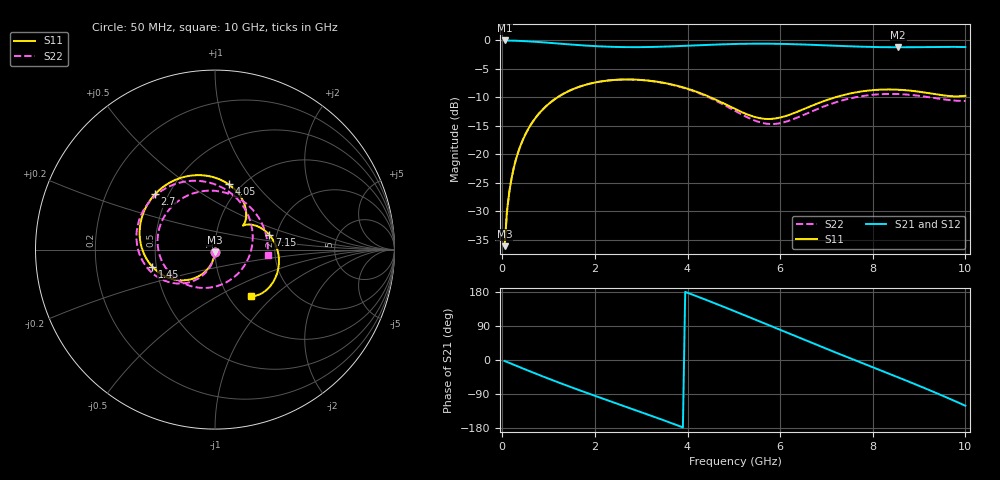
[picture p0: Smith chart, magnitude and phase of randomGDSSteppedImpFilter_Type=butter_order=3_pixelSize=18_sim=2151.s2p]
! freq	dB(S11)	phase(S11)	dB(S12)	phase(S12)
!  dB(S21)	phase(S21)	dB(S22)	phase(S22)
!S-par simulation data
#  GHz  S  DB  R 50
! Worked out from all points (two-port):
!   200 points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, 50 MHz to 10 GHz, reference 50 ohm
!   highest |S21| = -0.01 dB at 50 MHz (marker M1); lowest = -1.2 dB at 8.55 GHz (marker M2)
!   |S21| within 3 dB of the highest: start of sweep to end of sweep
!   lowest |S11| = -36.1 dB at 50 MHz (marker M3), VSWR 1.03, Z = 49.9 - j1.57 ohm
!   |S11| at or under -10 dB: start of sweep to 1.188 GHz; 4.502 GHz to 7.181 GHz (2.68 GHz wide, 45.9 % of centre)
!   |S22| runs from -36.1 to -6.8 dB; largest |S21 - S12| = 0
!   S11 on the Smith chart (normalised r, x): 50 MHz: 1.00, -0.03; 1.45 GHz: 0.47, -0.10; 2.7 GHz: 0.42, +0.33; 4.05 GHz: 0.87, +0.74; 7.15 GHz: 1.83, +0.33; 10 GHz: 1.26, -0.73
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0.05  -36.08 -92.5  -0.01 -2.6  -0.01 -2.6  -36.08 -92.2
0.1  -30.11 -95.4  -0.01 -5.1  -0.01 -5.1  -30.10 -94.8
0.2  -24.17 -101.0  -0.03 -10.1  -0.03 -10.1  -24.16 -99.8
0.45  -17.33 -114.4  -0.11 -22.6  -0.11 -22.6  -17.32 -111.8
0.85  -12.31 -135.2  -0.32 -42.1  -0.32 -42.1  -12.30 -130.3
1.45  -8.82 -164.9  -0.70 -70.1  -0.70 -70.1  -8.81 -156.5
1.75  -7.90 -179.2  -0.88 -83.5  -0.88 -83.5  -7.89 -169.1
2.7  -6.85 137.3  -1.18 -124.7  -1.18 -124.7  -6.85 152.1
3.4  -7.32 106.2  -1.11 -155.3  -1.11 -155.3  -7.34 122.6
4.05  -8.60 78.3  -0.91 175.2  -0.91 175.2  -8.68 92.0
4.55  -10.17 59.3  -0.74 151.5  -0.74 151.5  -10.34 64.5
5.05  -12.11 45.7  -0.62 127.1  -0.62 127.1  -12.46 30.3
5.45  -13.42 41.1  -0.57 107.1  -0.57 107.1  -14.05 -4.5
5.85  -13.74 40.5  -0.58 87.0  -0.58 87.0  -14.66 -45.0
6.25  -12.90 38.0  -0.65 66.9  -0.65 66.9  -13.91 -84.2
6.7  -11.41 29.0  -0.77 44.4  -0.77 44.4  -12.38 -121.0
7.15  -10.08 15.2  -0.92 22.2  -0.92 22.2  -10.98 -151.8
7.75  -8.96 -5.9  -1.10 -7.0  -1.10 -7.0  -9.79 171.1
8.35  -8.60 -26.2  -1.19 -36.1  -1.19 -36.1  -9.38 134.0
8.55  -8.64 -32.3  -1.20 -45.8  -1.20 -45.8  -9.41 120.9
9.3  -9.37 -49.2  -1.15 -83.4  -1.15 -83.4  -10.06 64.2
10  -9.71 -52.3  -1.16 -120.7  -1.16 -120.7  -10.61 -5.4
